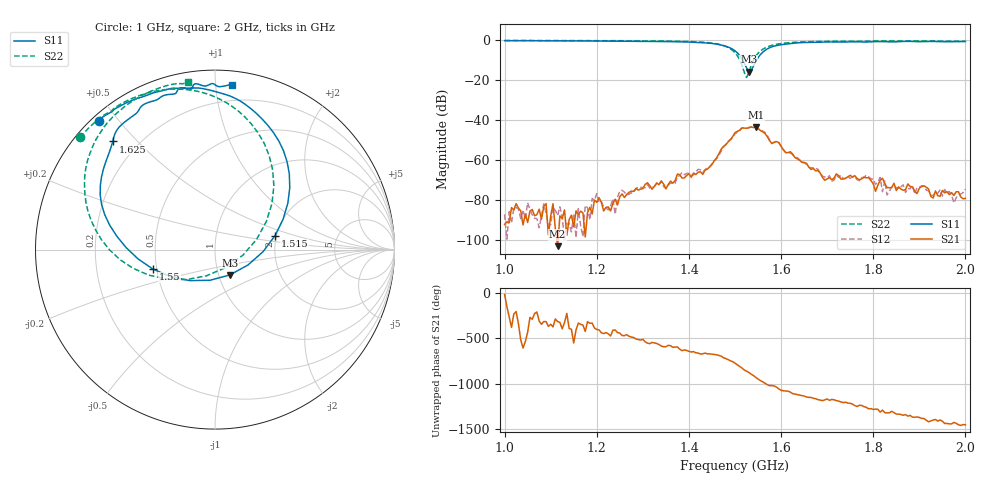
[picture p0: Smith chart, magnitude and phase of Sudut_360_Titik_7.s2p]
# Hz S RI R 50
! CMT, C1220, 16058040, 17.2.0/1
! Date: 14/08/2018 12:17:33
! Data: Format (Calibration Info)
! Freq  S11: Re/Im (F2)  S21: Re/Im (F2)  S12: Re/Im (F2)  S22: Re/Im (F2)
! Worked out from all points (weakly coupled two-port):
!   201 points, 1 GHz to 2 GHz, reference 50 ohm
!   highest |S21| = -43.33 dB at 1.545 GHz (marker M1); lowest = -102.9 dB at 1.115 GHz (marker M2)
!   lowest |S11| = -15.7 dB at 1.53 GHz (marker M3), VSWR 1.39, Z = 56.5 - j16.4 ohm
!   |S11| at or under -10 dB: 1.517 GHz to 1.547 GHz (30.3 MHz wide, 1.98 % of centre)
!   |S22| runs from -18.7 to -0.2 dB; largest |S21 - S12| = 0.00039
!   S11 on the Smith chart (normalised r, x): 1 GHz: 0.02, +0.44; 1.515 GHz: 1.96, +0.34; 1.55 GHz: 0.48, -0.12; 1.625 GHz: 0.11, +0.43; 2 GHz: 0.09, +1.11
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1e9  -0.6489 0.7145  2.37e-05 -7.51e-06  4.34e-06 4.44e-05  -0.7537 0.6247
1.115e9  -0.5418 0.7924  4.98e-06 5.12e-06  4.17e-05 1.32e-06  -0.6681 0.7101
1.17e9  -0.4811 0.8235  4.82e-05 5.66e-06  4.16e-06 -1.17e-05  -0.617 0.7506
1.335e9  -0.2235 0.8989  -0.000219 0.000113  -0.000229 0.000103  -0.4007 0.8652
1.43e9  0.0882 0.8539  0.000283 0.000342  0.000339 0.00038  -0.0941 0.8812
1.5e9  0.4166 0.3456  0.00291 -0.00389  0.00274 -0.00365  0.3281 0.3546
1.515e9  0.3335 0.0763  -0.00171 -0.00617  -0.00153 -0.00629  0.2321 0.0572
1.53e9  0.083 -0.1411  -0.00586 -0.00276  -0.00593 -0.00282  -0.048 -0.1462
1.545e9  -0.2483 -0.1503  -0.00603 0.00318  -0.00604 0.00301  -0.3704 -0.1419
1.55e9  -0.3462 -0.1084  -0.00418 0.00455  -0.00436 0.00439  -0.4573 -0.1038
1.625e9  -0.5697 0.6027  0.00127 -0.000646  0.00128 -0.000561  -0.7021 0.5211
1.67e9  -0.4509 0.7487  0.000127 -0.000612  0.000182 -0.000624  -0.6257 0.6724
1.71e9  -0.3818 0.816  -8.67e-06 -0.000325  -5.57e-05 -0.000294  -0.5588 0.7495
1.79e9  -0.216 0.8739  -0.000354 9.48e-05  -0.000378 7.57e-05  -0.4387 0.8401
1.805e9  -0.2038 0.8935  -0.000159 5.26e-05  -0.000218 0.000123  -0.4177 0.8531
1.815e9  -0.188 0.8997  -0.000199 0.000242  -0.000349 0.000128  -0.404 0.8603
1.82e9  -0.1778 0.8997  -0.000312 0.00017  7.68e-05 0.000145  -0.3972 0.8639
1.825e9  -0.1664 0.8981  -0.000148 0.000218  -0.000261 0.000162  -0.3905 0.8668
1.835e9  -0.1446 0.8929  -0.000108 0.000177  -4.98e-05 0.000159  -0.3772 0.8735
1.905e9  -0.0476 0.9126  0.00011 0.00019  0.000119 0.000199  -0.2791 0.9107
1.975e9  0.0614 0.9136  0.000126 3.71e-05  8.59e-05 -1.13e-06  -0.1803 0.9241
2e9  0.0956 0.9149  0.00011 -1.98e-05  0.00018 -5.88e-05  -0.1529 0.933
